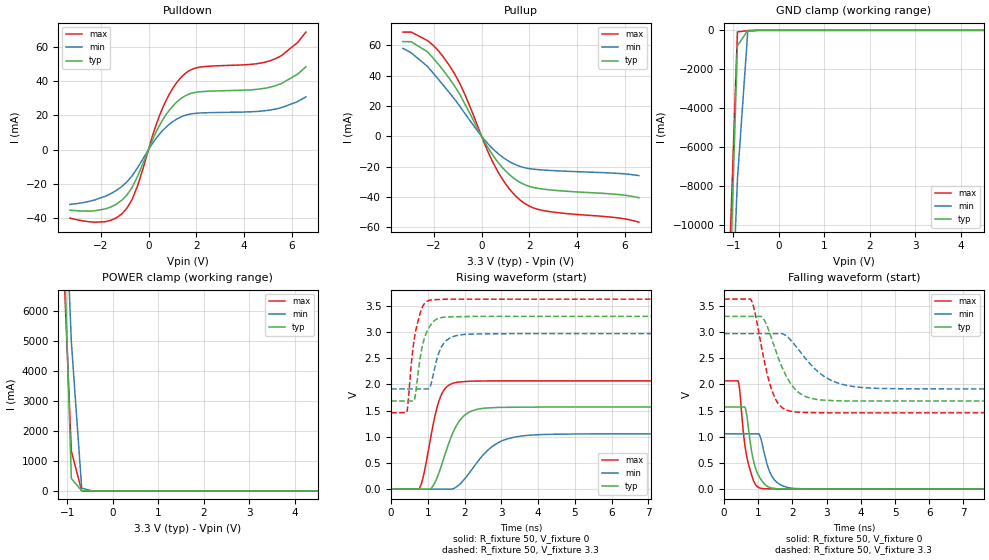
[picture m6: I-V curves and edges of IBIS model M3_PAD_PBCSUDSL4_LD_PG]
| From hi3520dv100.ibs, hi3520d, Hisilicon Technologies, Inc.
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[Model] M3_PAD_PBCSUDSL4_LD_PG
Model_type I/O
Vinl  =  0.8
Vinh  =  2
| Capacitance   typ   min   max
C_comp   3.57061683089e-12   3.82895417095e-12   3.34958467437e-12
| Variables   typ   min   max
[GND Clamp Reference]   0   0   0
[POWER Clamp Reference]   3.3   2.97   3.63
[Pulldown Reference]   0   0   0
[Pullup Reference]   3.3   2.97   3.63
[Temperature Range]   25   125   -40
[Voltage Range]   3.3   2.97   3.63
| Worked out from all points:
|   slope of the pulldown table from 0 to 0.495 V, typ, clamps not added: 33.1 ohm
|   slope of the pullup table from 0 to 0.495 V, typ, clamps not added: 38.2 ohm
|   GND clamp passes 1 mA (typ) near -0.47 V on its own axis
|   POWER clamp passes 1 mA (typ) near -0.51 V on its own axis
|   falling waveform, R_fixture 50, V_fixture 0: 20-80 % time 275ps typ, 313ps min, 252ps max; typ from 1.57 V to 0 V
|   falling waveform, R_fixture 50, V_fixture 3.3: 20-80 % time 621ps typ, 934ps min, 439ps max; typ from 3.3 V to 1.68 V
|   rising waveform, R_fixture 50, V_fixture 0: 20-80 % time 510ps typ, 797ps min, 362ps max; typ from 0 V to 1.57 V
|   rising waveform, R_fixture 50, V_fixture 3.3: 20-80 % time 253ps typ, 282ps min, 237ps max; typ from 1.68 V to 3.3 V
[GND Clamp]
| Voltage   I(typ)   I(min)   I(max)
-3.3V     -188.8A    -149A      -233.7A
-1.134V   -17.95A    -21.05A    -15.29A
-907.5mV  -786.7mA   -7.652A    -79.55mA
-680.6mV  -11.81mA   -50.68mA   -16.41mA
-453.7mV  -314.5uA   -586.9uA   -272.1uA
6.6V      0A         0A         0A
[POWER Clamp]
| Voltage   I(typ)   I(min)   I(max)
-3.3V     123.1A     97.09A     152.4A
-1.134V   11.45A     13.48A     9.697A
-907.5mV  415.2mA    4.97A      1.325A
-680.6mV  3.601mA    92.24mA    5.251mA
-453.7mV  104.3uA    865.1uA    659.7uA
6.6V      0A         0A         0A
[Pulldown]
| Voltage   I(typ)   I(min)   I(max)
-3.3V     -35.33mA   -32mA      -40.04mA
-1.815V   -34.65mA   -27.26mA   -42.1mA
-907.5mV  -26.53mA   -18.89mA   -34.28mA
-453.7mV  -15.49mA   -10.51mA   -20.95mA
206.2mV   6.91mA     4.438mA    9.734mA
618.8mV   17.9mA     11.52mA    25.16mA
1.083V    26.4mA     16.96mA    37.19mA
1.547V    31.47mA    20.08mA    44.55mA
2.217V    33.88mA    21.44mA    48.31mA
5.115V    36.54mA    23.16mA    52.02mA
5.569V    38.59mA    24.5mA     54.87mA
6.6V      48.4mA     30.82mA    68.68mA
[Pullup]
| Voltage   I(typ)   I(min)   I(max)
-3.3V     62.4mA     57.96mA    68.66mA
-2.949V   62.3mA     54.99mA    68.65mA
-2.269V   55.64mA    46.04mA    63.05mA
-1.815V   47.55mA    37.6mA     56.46mA
-1.361V   38.31mA    28.92mA    46.88mA
-680.6mV  20.61mA    14.58mA    26.86mA
103.1mV   -2.991mA   -1.991mA   -4.11mA
567.2mV   -14.58mA   -9.693mA   -19.98mA
1.083V    -24.07mA   -15.93mA   -33.04mA
1.65V     -30.74mA   -20.1mA    -42.52mA
2.63V     -35mA      -22.35mA   -49.15mA
6.6V      -40.6mA    -25.99mA   -56.72mA
[Ramp]
dV/dt_r   0.941676/0.509739n  0.634176/0.796838n  1.24089/0.36239n
dV/dt_f   0.970715/0.621259n  0.633928/0.933549n  1.30383/0.438684n
R_load = 50
[Falling Waveform]
R_fixture = 50
V_fixture = 0
V_fixture_min = 0
V_fixture_max = 0
| Time   V(typ)   V(min)   V(max)
0s        1.569V     1.057V     2.068V
416.4ps   1.569V     1.057V     2.057V
613ps     1.562V     1.057V     819.2mV
867.9ps   518.6mV    1.057V     152mV
1.02ns    247.7mV    1.056V     29.09mV
1.166ns   109.5mV    715.1mV    7.834mV
1.343ns   30.64mV    317.7mV    5.983mV
1.531ns   9.195mV    136.2mV    4.015mV
2.446ns   1.247mV    4.159mV    587.5uV
100ns     3.861nV    45.68nV    24.23nV
[Falling Waveform]
R_fixture = 50
V_fixture = 3.3
V_fixture_min = 2.97
V_fixture_max = 3.63
| Time   V(typ)   V(min)   V(max)
0s        3.3V       2.97V      3.63V
792.7ps   3.3V       2.97V      3.611V
910.1ps   3.3V       2.97V      3.348V
1.152ns   3.254V     2.97V      2.521V
1.493ns   2.681V     2.97V      1.732V
1.916ns   2.046V     2.869V     1.493V
2.365ns   1.772V     2.508V     1.463V
3.302ns   1.688V     2.032V     1.458V
5.256ns   1.683V     1.916V     1.458V
100ns     1.682V     1.913V     1.457V
[Rising Waveform]
R_fixture = 50
V_fixture = 0
V_fixture_min = 0
V_fixture_max = 0
| Time   V(typ)   V(min)   V(max)
0s        5.337nV    41.65nV    13.64nV
765.5ps   5.337nV    41.65nV    12.06mV
1.077ns   8.598mV    41.65nV    980mV
1.256ns   228.7mV    41.65nV    1.574V
1.447ns   617.7mV    41.65nV    1.901V
1.812ns   1.255V     61.03mV    2.044V
2.166ns   1.484V     344.4mV    2.063V
3.063ns   1.562V     935.4mV    2.067V
4.914ns   1.569V     1.053V     2.067V
100ns     1.569V     1.057V     2.068V
[Rising Waveform]
R_fixture = 50
V_fixture = 3.3
V_fixture_min = 2.97
V_fixture_max = 3.63
| Time   V(typ)   V(min)   V(max)
0s        1.682V     1.913V     1.457V
434.2ps   1.682V     1.913V     1.487V
568.2ps   1.682V     1.913V     2.518V
641.6ps   1.726V     1.913V     2.914V
854.8ps   2.743V     1.913V     3.48V
1.054ns   3.111V     1.938V     3.609V
1.31ns    3.267V     2.62V      3.622V
1.51ns    3.288V     2.841V     3.628V
3.906ns   3.299V     2.97V      3.628V
100ns     3.3V       2.97V      3.63V
